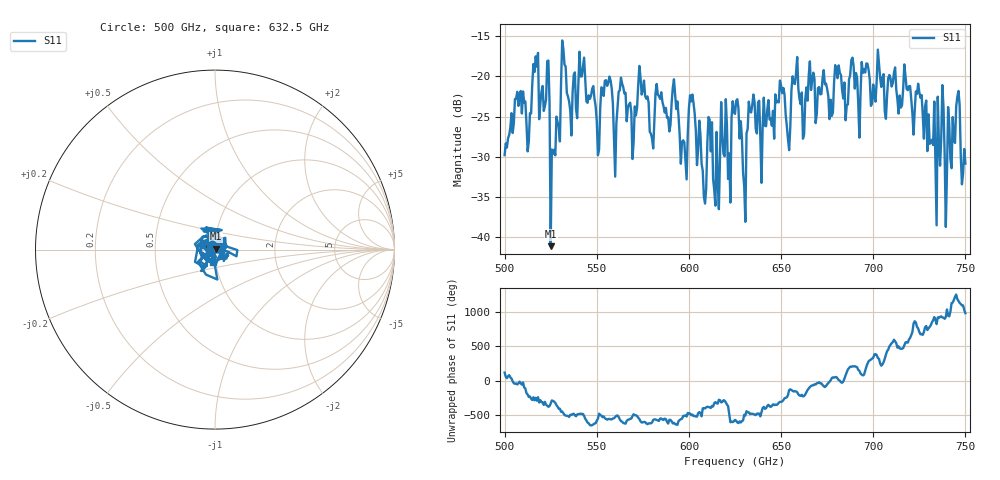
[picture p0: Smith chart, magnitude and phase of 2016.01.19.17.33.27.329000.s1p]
!Created with skrf (http://scikit-rf.org).
# GHz S RI R 50.0
!freq ReS11 ImS11
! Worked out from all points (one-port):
!   401 points, 500 GHz to 750 GHz, reference 50 ohm
!   lowest |S11| = -41.1 dB at 525 GHz (marker M1), VSWR 1.02, Z = 50.8 + j0.445 ohm
!   |S11| at or under -10 dB: start of sweep to end of sweep
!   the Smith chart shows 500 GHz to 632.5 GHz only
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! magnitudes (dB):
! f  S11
! 500 GHz  -29.8
! 507.5 GHz  -23.7
! 513.1 GHz  -28.1
! 516.9 GHz  -17.5
! 523.1 GHz  -18.1
! 525 GHz  -41.1
! 526.2 GHz  -29.6
! 531.2 GHz  -15.5
! 541.9 GHz  -20.0
! 550.6 GHz  -29.8
! 562.5 GHz  -21.7
! 593.8 GHz  -23.1
! 597.5 GHz  -28.2
! 601.9 GHz  -22.3
! 608.1 GHz  -35.0
! 611.2 GHz  -25.4
! 615 GHz  -26.9
! 625 GHz  -24.7
! 630 GHz  -33.7
! 633.8 GHz  -24.5
! 650.6 GHz  -22.1
! 653.8 GHz  -27.8
! 656.2 GHz  -20.0
! 687.5 GHz  -19.8
! 718.8 GHz  -21.7
! 735 GHz  -22.5
! 745.6 GHz  -22.5
! 750 GHz  -30.8
